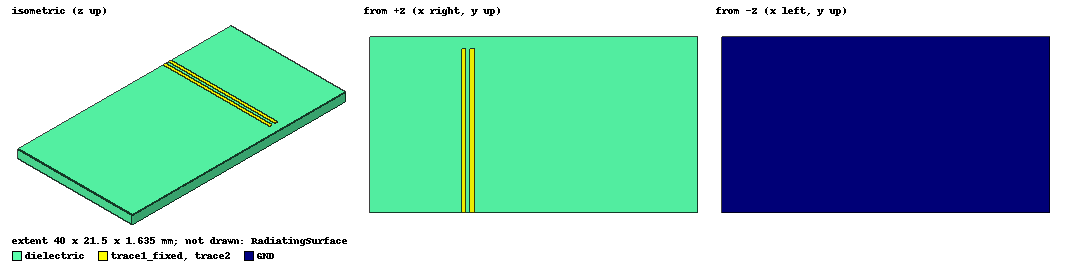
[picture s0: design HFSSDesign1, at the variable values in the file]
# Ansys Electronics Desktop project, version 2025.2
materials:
  vacuum: permittivity=1
  FR4_epoxy: permittivity=4.4 dielectric_loss_tangent=0.02
  copper: permeability=0.999991 conductivity=58000000

design HFSSDesign1 (HFSS, HFSS Modal Network, model units mm)
options: open_region{BoundaryType=0 OpFreq=80GHz}
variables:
  w = 0.5mm
  hf = 1.6mm
  L = 20mm
  hc = 35um
  d = 0.5mm
  fi = 0deg
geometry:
  dielectric [FR4_epoxy] = box(corner=(-L, -(L+3*w)/2, 0), size=(2*L, L+3*w, hf))
  trace1_fixed [copper] = box(corner=(-L/2+1.25mm, -(L+3*w)/2, hf), size=(w, L, hc))
  trace2 [copper] = box(corner=(-L/2+1.25mm+w+d, -(L+3*w)/2, hf), size=(w, L, hc))
  [dielectric, trace1_fixed, trace2].move(7.75mm, -9.25mm, -0.035mm)
  [dielectric, trace1_fixed, trace2].move(0mm, 0mm, -1.6mm)
  trace2.rotate(axis=Z, angle=fi)
  RadiatingSurface [vacuum] = region(absolute_offset=1.25mm on all sides)
  dielectric1 = box(corner=(-L, -(L+3*w)/2, 0), size=(2*L, L+3*w, hf))
  GND [FR4_epoxy] = object_from(dielectric1.face(-z))
  dielectric1.delete()
  GND.move(7.75mm, -9.25mm, -1.635mm)
  Rectangle1 = rectangle(corner=(-L/2+1.25mm, -(L+3*w)/2, hf), z_size=hf+hc, x_size=w)
  Rectangle1.move(8.75mm, 10.75mm, -3.235mm)
  Rectangle2 = rectangle(corner=(-L/2+1.25mm, -(L+3*w)/2, hf), z_size=hf+hc, x_size=w)
  Rectangle2.move(8.75mm, 10.75mm, -3.235mm)
  Rectangle2.move(-1mm, 0mm, 0mm)
  Rectangle1.rotate(axis=Z, angle=fi)
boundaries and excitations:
  AutoOpen1: Radiation Objects=RadiatingSurface
  GNDBC: Perfect E Objects=GND
  1: Lumped Port Objects=Rectangle1 LumpedPortType=Modal Modes{Mode1{IntLine{(0.25, 0, -1.635) -> (0.25, 0, 0)} CharImp=Zpi RenormImp=50ohm}} Impedance=50ohm
  2: Lumped Port Objects=Rectangle2 LumpedPortType=Modal Modes{Mode1{IntLine{(-0.75, 0, -1.635) -> (-0.75, 0, 0)} CharImp=Zpi RenormImp=50ohm}} Impedance=50ohm
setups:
  Auto1: HfssDriven Frequency=80GHz MaxDeltaS=0.02 MaximumPasses=10 MinimumPasses=1 MinimumConvergedPasses=1 PercentRefinement=30 BasisOrder=1 PortAccuracy=2 DrivenSolverType="Direct Solver"
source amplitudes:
  1:1: 1W 0deg
  2:1: 0W 0deg
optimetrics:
  ParametricSetup1: Parametric Sim._Setups=[Auto1]
    sweep fi: LIN 0deg 90deg 10deg
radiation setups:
  3D: Infinite Sphere Theta=0deg..180deg step 2deg Phi=-180deg..180deg step 2deg
  Elevation: Infinite Sphere Theta=-180deg..180deg step 1deg Phi=0deg..90deg step 90deg
  Azimuth: Infinite Sphere Theta=90deg..90deg step 0deg Phi=-180deg..180deg step 1deg
